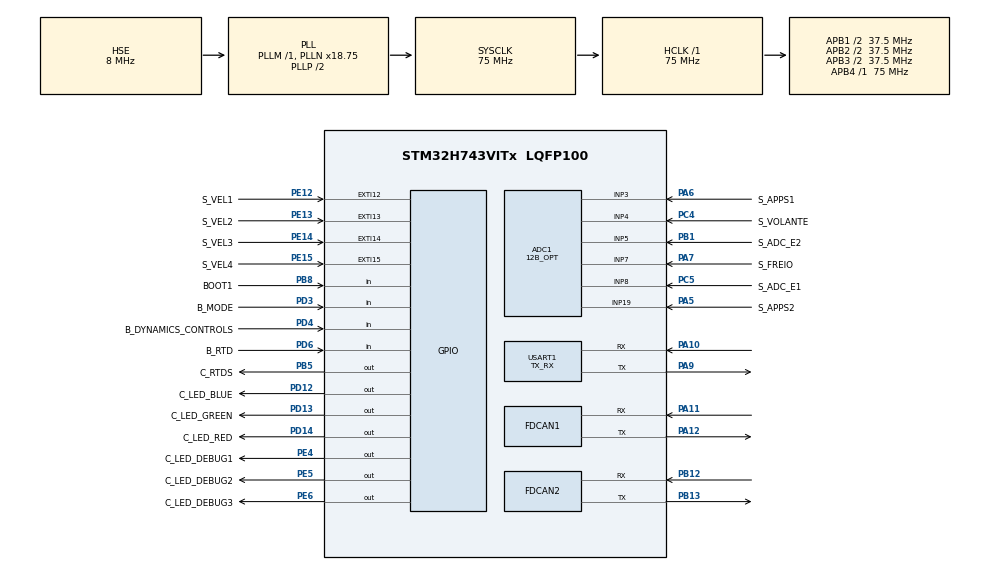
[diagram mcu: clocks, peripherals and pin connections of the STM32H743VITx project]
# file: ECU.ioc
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ADC1.Channel-0\#ChannelRegularConversion=ADC_CHANNEL_3
ADC1.Channel-1\#ChannelRegularConversion=ADC_CHANNEL_4
ADC1.Channel-2\#ChannelRegularConversion=ADC_CHANNEL_5
ADC1.Channel-3\#ChannelRegularConversion=ADC_CHANNEL_7
ADC1.Channel-4\#ChannelRegularConversion=ADC_CHANNEL_8
ADC1.Channel-5\#ChannelRegularConversion=ADC_CHANNEL_19
ADC1.ClockPrescaler=ADC_CLOCK_ASYNC_DIV2
ADC1.ContinuousConvMode=ENABLE
ADC1.ConversionDataManagement=ADC_CONVERSIONDATA_DMA_CIRCULAR
ADC1.EOCSelection=ADC_EOC_SEQ_CONV
ADC1.NbrOfConversion=6
ADC1.NbrOfConversionFlag=1
ADC1.OffsetNumber-0\#ChannelRegularConversion=ADC_OFFSET_NONE
ADC1.OffsetNumber-1\#ChannelRegularConversion=ADC_OFFSET_NONE
ADC1.OffsetNumber-2\#ChannelRegularConversion=ADC_OFFSET_NONE
ADC1.OffsetNumber-3\#ChannelRegularConversion=ADC_OFFSET_NONE
ADC1.OffsetNumber-4\#ChannelRegularConversion=ADC_OFFSET_NONE
ADC1.OffsetNumber-5\#ChannelRegularConversion=ADC_OFFSET_NONE
ADC1.Overrun=ADC_OVR_DATA_OVERWRITTEN
ADC1.Rank-0\#ChannelRegularConversion=1
ADC1.Rank-1\#ChannelRegularConversion=2
ADC1.Rank-2\#ChannelRegularConversion=3
ADC1.Rank-3\#ChannelRegularConversion=4
ADC1.Rank-4\#ChannelRegularConversion=5
ADC1.Rank-5\#ChannelRegularConversion=6
ADC1.Resolution=ADC_RESOLUTION_12B_OPT
ADC1.SamplingTime-0\#ChannelRegularConversion=ADC_SAMPLETIME_810CYCLES_5
ADC1.SamplingTime-1\#ChannelRegularConversion=ADC_SAMPLETIME_810CYCLES_5
ADC1.SamplingTime-2\#ChannelRegularConversion=ADC_SAMPLETIME_810CYCLES_5
ADC1.SamplingTime-3\#ChannelRegularConversion=ADC_SAMPLETIME_810CYCLES_5
ADC1.SamplingTime-4\#ChannelRegularConversion=ADC_SAMPLETIME_810CYCLES_5
ADC1.SamplingTime-5\#ChannelRegularConversion=ADC_SAMPLETIME_810CYCLES_5
ADC1.master=1
Dma.ADC1.0.Direction=DMA_PERIPH_TO_MEMORY
Dma.ADC1.0.EventEnable=DISABLE
Dma.ADC1.0.FIFOMode=DMA_FIFOMODE_DISABLE
Dma.ADC1.0.Instance=DMA1_Stream0
Dma.ADC1.0.MemDataAlignment=DMA_MDATAALIGN_HALFWORD
Dma.ADC1.0.MemInc=DMA_MINC_ENABLE
Dma.ADC1.0.Mode=DMA_CIRCULAR
Dma.ADC1.0.PeriphDataAlignment=DMA_PDATAALIGN_HALFWORD
Dma.ADC1.0.PeriphInc=DMA_PINC_DISABLE
Dma.ADC1.0.Polarity=HAL_DMAMUX_REQ_GEN_RISING
Dma.ADC1.0.Priority=DMA_PRIORITY_LOW
Dma.ADC1.0.RequestNumber=1
Dma.ADC1.0.SignalID=NONE
Dma.ADC1.0.SyncEnable=DISABLE
Dma.ADC1.0.SyncPolarity=HAL_DMAMUX_SYNC_NO_EVENT
Dma.ADC1.0.SyncRequestNumber=1
Dma.ADC1.0.SyncSignalID=NONE
Dma.Request0=ADC1
Dma.Request1=USART1_RX
Dma.Request2=USART1_TX
Dma.USART1_RX.1.Direction=DMA_PERIPH_TO_MEMORY
Dma.USART1_RX.1.EventEnable=DISABLE
Dma.USART1_RX.1.FIFOMode=DMA_FIFOMODE_DISABLE
Dma.USART1_RX.1.Instance=DMA1_Stream1
Dma.USART1_RX.1.MemDataAlignment=DMA_MDATAALIGN_BYTE
Dma.USART1_RX.1.MemInc=DMA_MINC_ENABLE
Dma.USART1_RX.1.Mode=DMA_CIRCULAR
Dma.USART1_RX.1.PeriphDataAlignment=DMA_PDATAALIGN_BYTE
Dma.USART1_RX.1.PeriphInc=DMA_PINC_DISABLE
Dma.USART1_RX.1.Polarity=HAL_DMAMUX_REQ_GEN_RISING
Dma.USART1_RX.1.Priority=DMA_PRIORITY_LOW
Dma.USART1_RX.1.RequestNumber=1
Dma.USART1_RX.1.SignalID=NONE
Dma.USART1_RX.1.SyncEnable=DISABLE
Dma.USART1_RX.1.SyncPolarity=HAL_DMAMUX_SYNC_NO_EVENT
Dma.USART1_RX.1.SyncRequestNumber=1
Dma.USART1_RX.1.SyncSignalID=NONE
Dma.USART1_TX.2.Direction=DMA_MEMORY_TO_PERIPH
Dma.USART1_TX.2.EventEnable=DISABLE
Dma.USART1_TX.2.FIFOMode=DMA_FIFOMODE_DISABLE
Dma.USART1_TX.2.Instance=DMA1_Stream2
Dma.USART1_TX.2.MemDataAlignment=DMA_MDATAALIGN_BYTE
Dma.USART1_TX.2.MemInc=DMA_MINC_ENABLE
Dma.USART1_TX.2.Mode=DMA_NORMAL
Dma.USART1_TX.2.PeriphDataAlignment=DMA_PDATAALIGN_BYTE
Dma.USART1_TX.2.PeriphInc=DMA_PINC_DISABLE
Dma.USART1_TX.2.Polarity=HAL_DMAMUX_REQ_GEN_RISING
Dma.USART1_TX.2.Priority=DMA_PRIORITY_LOW
Dma.USART1_TX.2.RequestNumber=1
Dma.USART1_TX.2.SignalID=NONE
Dma.USART1_TX.2.SyncEnable=DISABLE
Dma.USART1_TX.2.SyncPolarity=HAL_DMAMUX_SYNC_NO_EVENT
Dma.USART1_TX.2.SyncRequestNumber=1
Dma.USART1_TX.2.SyncSignalID=NONE
FDCAN1.CalculateBaudRateNominal=50000
FDCAN1.CalculateTimeBitNominal=20000
FDCAN1.CalculateTimeQuantumNominal=625.0
FDCAN1.DataPrescaler=5
FDCAN1.DataSyncJumpWidth=4
FDCAN1.DataTimeSeg1=27
FDCAN1.DataTimeSeg2=4
FDCAN1.NominalPrescaler=5
FDCAN1.NominalSyncJumpWidth=4
FDCAN1.NominalTimeSeg1=27
FDCAN1.NominalTimeSeg2=4
FDCAN1.RxBuffersNbr=32
FDCAN1.RxFifo0ElmtsNbr=32
FDCAN1.RxFifo1ElmtsNbr=32
FDCAN1.TxBuffersNbr=32
FDCAN1.TxEventsNbr=32
FDCAN1.TxFifoQueueElmtsNbr=32
FDCAN2.CalculateBaudRateNominal=500000
FDCAN2.CalculateTimeBitNominal=2000
FDCAN2.CalculateTimeQuantumNominal=125.0
FDCAN2.DataSyncJumpWidth=2
FDCAN2.DataTimeSeg1=13
FDCAN2.DataTimeSeg2=2
FDCAN2.MessageRAMOffset=1280
FDCAN2.NominalPrescaler=1
FDCAN2.NominalSyncJumpWidth=2
FDCAN2.NominalTimeSeg1=13
FDCAN2.RxBuffersNbr=32
FDCAN2.RxFifo0ElmtsNbr=32
FDCAN2.RxFifo1ElmtsNbr=32
FDCAN2.TxBuffersNbr=32
FDCAN2.TxEventsNbr=32
FDCAN2.TxFifoQueueElmtsNbr=32
FREERTOS.Events01=e_ECU_control_flags,Dynamic,NULL
FREERTOS.Mutexes01=m_state_parameter_mutex,Dynamic,NULL
FREERTOS.Queues01=q_encoder_int_message,16,encoder_int_message_t,0,Dynamic,NULL,NULL;q_torque_message,16,torque_message_t,0,Dynamic,NULL,NULL;q_ref_torque_message,16,ref_torque_t,0,Dynamic,NULL,NULL;q_datalog_message,128,datalog_message_t,0,Dynamic,NULL,NULL;q_debug_leds_message,16,debug_led_message_t,0,Dynamic,NULL,NULL;q_rgb_led_message,16,rgb_led_message_t,0,Dynamic,NULL,NULL;q_throttle_control,16,uint16_t,0,Dynamic,NULL,NULL;q_encoder_speeds_message,1,encoder_speeds_message_t,0,Dynamic,NULL,NULL;q_odometer_calc_save_message,1,odometer_message_t,0,Dynamic,NULL,NULL;q_ids_can_inverter,32,uint32_t,0,Dynamic,NULL,NULL
FREERTOS.Tasks01=t_main_task,24,1024,main_task,As weak,NULL,Dynamic,NULL,NULL;t_torque_parameters,8,1024,torque_parameters,As external,NULL,Dynamic,NULL,NULL;t_datalogger,8,1024,datalogger,As external,NULL,Dynamic,NULL,NULL;t_APPS_read,8,1024,APPS_read,As external,NULL,Dynamic,NULL,NULL;t_steering_read,8,1024,steering_read,As external,NULL,Dynamic,NULL,NULL;t_encoder_speed_calc,8,1024,encoder_speed_calc,As external,NULL,Dynamic,NULL,NULL;t_odometer_calc,8,1024,odometer_calc,As external,NULL,Dynamic,NULL,NULL;t_torque_message,8,1024,torque_message,As external,NULL,Dynamic,NULL,NULL;t_torque_manager,8,1024,torque_manager,As external,NULL,Dynamic,NULL,NULL;t_debug_leds,8,1024,debug_leds,As external,NULL,Dynamic,NULL,NULL;t_rgb_led,8,1024,rgb_led,As external,NULL,Dynamic,NULL,NULL;t_seleciona_modo,8,1024,seleciona_modo,As external,NULL,Dynamic,NULL,NULL;t_RTD,8,1024,RTD,As external,NULL,Dynamic,NULL,NULL;t_throttle_control,8,1024,throttle_control,As external,NULL,Dynamic,NULL,NULL;t_datalog_acquisition,8,1024,datalog_acquisition,As external,NULL,Dynamic,NULL,NULL;t_inverter_comm_error,8,1024,inverter_comm_error,As external,NULL,Dynamic,NULL,NULL;t_inverter_datalog,8,1024,inverter_datalog,As external,NULL,Dynamic,NULL,NULL;t_pilot_reset,8,1024,pilot_reset,As external,NULL,Dynamic,NULL,NULL;t_buttons_handler,8,1024,buttons_handler,As external,NULL,Dynamic,NULL,NULL;t_speed_datalog,8,1024,speed_datalog,As external,NULL,Dynamic,NULL,NULL;t_odometer_save,8,1024,odometer_save,As external,NULL,Dynamic,NULL,NULL;t_dynamic_controls_choice,8,1024,dynamic_controls_choice,As external,NULL,Dynamic,NULL,NULL;t_UARTHandle,8,1024,StartTask23,Default,NULL,Dynamic,NULL,NULL
FREERTOS.Timers01=tim_SU_F_error,errors_with_timer_callback,osTimerOnce,As external,SU_F_ERROR_FLAG,Dynamic,NULL;tim_APPS_error,errors_with_timer_callback,osTimerOnce,As external,APPS_ERROR_FLAG,Dynamic,NULL;tim_inverter_BUS_OFF_error,inverter_BUS_OFF_error_callback,osTimerOnce,As external,NULL,Dynamic,NULL;tim_inverter_ready,inverter_ready_callback,osTimerOnce,As external,NULL,Dynamic,NULL;tim_inverter_can_transmit_error,errors_with_timer_callback,osTimerOnce,As external,INVERTER_CAN_TRANSMIT_ERROR_FLAG,Dynamic,NULL;tim_left_inv_error,left_inv_error_callback,osTimerPeriodic,As external,LEFT_INVERTER_COMM_ERROR_FLAG,Dynamic,NULL;tim_right_inv_error,right_inv_error_callback,osTimerPeriodic,As external,RIGHT_INVERTER_COMM_ERROR_FLAG,Dynamic,NULL
FREERTOS.configCHECK_FOR_STACK_OVERFLOW=2
FREERTOS.configENABLE_FPU=1
FREERTOS.configMAX_TASK_NAME_LEN=32
FREERTOS.configMINIMAL_STACK_SIZE=64
FREERTOS.configTOTAL_HEAP_SIZE=121260
FREERTOS.configUSE_MALLOC_FAILED_HOOK=1
FREERTOS.configUSE_STATS_FORMATTING_FUNCTIONS=1
IWDG1.Prescaler=IWDG_PRESCALER_8
Mcu.Family=STM32H7
Mcu.Name=STM32H743VITx
Mcu.Package=LQFP100
NVIC.DMA1_Stream0_IRQn=true\:5\:0\:false\:false\:true\:true\:false\:true\:true
NVIC.DMA1_Stream1_IRQn=true\:5\:0\:false\:false\:true\:true\:false\:true\:true
NVIC.DMA1_Stream2_IRQn=true\:5\:0\:false\:false\:true\:true\:false\:true\:true
NVIC.EXTI15_10_IRQn=true\:5\:0\:false\:false\:true\:true\:true\:true\:true
NVIC.FDCAN1_IT0_IRQn=true\:5\:0\:false\:false\:true\:true\:true\:true\:true
NVIC.FDCAN1_IT1_IRQn=true\:5\:0\:false\:false\:true\:true\:true\:true\:true
NVIC.FDCAN2_IT0_IRQn=true\:5\:0\:false\:false\:true\:true\:true\:true\:true
NVIC.FDCAN2_IT1_IRQn=true\:5\:0\:false\:false\:true\:true\:true\:true\:true
NVIC.PriorityGroup=NVIC_PRIORITYGROUP_4
NVIC.TIM1_TRG_COM_IRQn=true\:5\:0\:false\:false\:true\:true\:true\:true\:true
NVIC.TIM3_IRQn=true\:0\:0\:false\:false\:true\:false\:false\:true\:true
NVIC.TimeBase=TIM3_IRQn
NVIC.TimeBaseIP=TIM3
NVIC.USART1_IRQn=true\:5\:0\:false\:false\:true\:true\:true\:true\:true
PA10.Mode=Asynchronous
PA10.Signal=USART1_RX
PA11.Mode=FDCAN_Activate
PA11.Signal=FDCAN1_RX
PA12.Mode=FDCAN_Activate
PA12.Signal=FDCAN1_TX
PA13\ (JTMS/SWDIO).Mode=Serial_Wire
PA13\ (JTMS/SWDIO).Signal=DEBUG_JTMS-SWDIO
PA14\ (JTCK/SWCLK).Mode=Serial_Wire
PA14\ (JTCK/SWCLK).Signal=DEBUG_JTCK-SWCLK
PA5.GPIO_Label=S_APPS2
PA5.Signal=ADCx_INP19
PA6.GPIO_Label=S_APPS1
PA6.Signal=ADCx_INP3
PA7.GPIO_Label=S_FREIO
PA7.Signal=ADCx_INP7
PA9.Mode=Asynchronous
PA9.Signal=USART1_TX
PB1.GPIO_Label=S_ADC_E2
PB1.Signal=ADCx_INP5
PB12.Mode=FDCAN_Activate
PB12.Signal=FDCAN2_RX
PB13.Mode=FDCAN_Activate
PB13.Signal=FDCAN2_TX
PB5.GPIO_Label=C_RTDS
PB5.PinState=GPIO_PIN_RESET
PB5.Signal=GPIO_Output
PB8.GPIO_Label=BOOT1
PB8.Signal=GPIO_Input
PC4.GPIO_Label=S_VOLANTE
PC4.Signal=ADCx_INP4
PC5.GPIO_Label=S_ADC_E1
PC5.Signal=ADCx_INP8
PD12.GPIO_Label=C_LED_BLUE
PD12.Signal=GPIO_Output
PD13.GPIO_Label=C_LED_GREEN
PD13.Signal=GPIO_Output
PD14.GPIO_Label=C_LED_RED
PD14.Signal=GPIO_Output
PD3.GPIO_Label=B_MODE
PD3.Signal=GPIO_Input
PD4.GPIO_Label=B_DYNAMICS_CONTROLS
PD4.Signal=GPIO_Input
PD6.GPIO_Label=B_RTD
PD6.Signal=GPIO_Input
PE12.GPIO_Label=S_VEL1
PE12.Signal=GPXTI12
PE13.GPIO_Label=S_VEL2
PE13.Signal=GPXTI13
PE14.GPIO_Label=S_VEL3
PE14.Signal=GPXTI14
PE15.GPIO_Label=S_VEL4
PE15.Signal=GPXTI15
PE4.GPIO_Label=C_LED_DEBUG1
PE4.PinState=GPIO_PIN_SET
PE4.Signal=GPIO_Output
PE5.GPIO_Label=C_LED_DEBUG2
PE5.PinState=GPIO_PIN_RESET
PE5.Signal=GPIO_Output
PE6.GPIO_Label=C_LED_DEBUG3
PE6.PinState=GPIO_PIN_SET
PE6.Signal=GPIO_Output
PH0-OSC_IN\ (PH0).Mode=HSE-External-Oscillator
PH0-OSC_IN\ (PH0).Signal=RCC_OSC_IN
PH1-OSC_OUT\ (PH1).Mode=HSE-External-Oscillator
PH1-OSC_OUT\ (PH1).Signal=RCC_OSC_OUT
ProjectManager.HeapSize=0x200
ProjectManager.StackSize=0x400
ProjectManager.TargetToolchain=STM32CubeIDE
RCC.ADCFreq_Value=37500000
RCC.APB1Freq_Value=37500000
RCC.APB2Freq_Value=37500000
RCC.APB3Freq_Value=37500000
RCC.APB4Freq_Value=75000000
RCC.CortexFreq_Value=75000000
RCC.D1PPRE=RCC_APB3_DIV2
RCC.D2PPRE1=RCC_APB1_DIV2
RCC.D2PPRE2=RCC_APB2_DIV2
RCC.DIVM1=1
RCC.DIVM2=1
RCC.DIVN1=18
RCC.DIVN2=18
RCC.DIVP2=4
RCC.DIVQ1=4
RCC.FDCANCLockSelection=RCC_FDCANCLKSOURCE_HSE
RCC.HCLKFreq_Value=75000000
RCC.HSE_VALUE=8000000
RCC.PLL2FRACN=6144
RCC.PLL3FRACN=0
RCC.PLLFRACN=6144
RCC.PLLSourceVirtual=RCC_PLLSOURCE_HSE
RCC.SYSCLKFreq_VALUE=75000000
RCC.SYSCLKSource=RCC_SYSCLKSOURCE_PLLCLK
RCC.USBFreq_Value=37500000
SH.ADCx_INP19.0=ADC1_INP19,IN19-Single-Ended
SH.ADCx_INP3.0=ADC1_INP3,IN3-Single-Ended
SH.ADCx_INP4.0=ADC1_INP4,IN4-Single-Ended
SH.ADCx_INP5.0=ADC1_INP5,IN5-Single-Ended
SH.ADCx_INP7.0=ADC1_INP7,IN7-Single-Ended
SH.ADCx_INP8.0=ADC1_INP8,IN8-Single-Ended
TIM1.Period=4000
TIM1.Prescaler=1799
TIM2.Period=0xFFFFFFFF
TIM2.Prescaler=0
USART1.Mode=MODE_TX_RX
USART1.VirtualMode-Asynchronous=VM_ASYNC
VP_FREERTOS_VS_CMSIS_V2.Mode=CMSIS_V2
VP_IWDG1_VS_IWDG.Mode=IWDG_Activate
VP_SYS_VS_tim3.Mode=TIM3
VP_TIM1_VS_ClockSourceINT.Mode=Internal
VP_TIM2_VS_ClockSourceINT.Mode=Internal
board=custom

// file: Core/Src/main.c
/* USER CODE BEGIN Header */
/**
  ******************************************************************************
  * @file           : main.c
  * @brief          : Main program body
  ******************************************************************************
  * @attention
  *
  * <h2><center>&copy; Copyright (c) 2020 STMicroelectronics.
  * All rights reserved.</center></h2>
  *
  * This software component is licensed by ST under BSD 3-Clause license,
  * the "License"; You may not use this file except in compliance with the
  * License. You may obtain a copy of the License at:
  *                        opensource.org/licenses/BSD-3-Clause
  *
  ******************************************************************************
  */
/* USER CODE END Header */
#include "main.h"
#include "cmsis_os.h"

/* USER CODE BEGIN Includes */
#include "CAN/inverter_can.h"
#include "CAN/general_can.h"
#include "util/initializers.h"
#include "sensors/APPS.h"
#include "sensors/encoder_speed.h"
#include "util/global_instances.h"
#include "util/main_task.h"
#include "leds/debug_leds_handler.h"
#include "leds/rgb_led_handler.h"
#include "util/CMSIS_extra/global_variables_handler.h"
#include "datalogging/speed.h"
#include "datalogging/odometer_save.h"
#include "string.h"
#include "torque_command/torque_manager.h"
/* USER CODE END Includes */

ADC_HandleTypeDef hadc1;
DMA_HandleTypeDef hdma_adc1;

FDCAN_HandleTypeDef hfdcan1;
FDCAN_HandleTypeDef hfdcan2;

IWDG_HandleTypeDef hiwdg1;

TIM_HandleTypeDef htim1;
TIM_HandleTypeDef htim2;

UART_HandleTypeDef huart1;
DMA_HandleTypeDef hdma_usart1_rx;
DMA_HandleTypeDef hdma_usart1_tx;

/* Definitions for t_main_task */
osThreadId_t t_main_taskHandle;
const osThreadAttr_t t_main_task_attributes = {
  .name = "t_main_task",
  .stack_size = 1024 * 4,
  .priority = (osPriority_t) osPriorityNormal,
};
/* Definitions for t_torque_parameters */
osThreadId_t t_torque_parametersHandle;
const osThreadAttr_t t_torque_parameters_attributes = {
  .name = "t_torque_parameters",
  .stack_size = 1024 * 4,
  .priority = (osPriority_t) osPriorityLow,
};
/* Definitions for t_datalogger */
osThreadId_t t_dataloggerHandle;
const osThreadAttr_t t_datalogger_attributes = {
  .name = "t_datalogger",
  .stack_size = 1024 * 4,
  .priority = (osPriority_t) osPriorityLow,
};
/* Definitions for t_APPS_read */
osThreadId_t t_APPS_readHandle;
const osThreadAttr_t t_APPS_read_attributes = {
  .name = "t_APPS_read",
  .stack_size = 1024 * 4,
  .priority = (osPriority_t) osPriorityLow,
};
/* Definitions for t_steering_read */
osThreadId_t t_steering_readHandle;
const osThreadAttr_t t_steering_read_attributes = {
  .name = "t_steering_read",
  .stack_size = 1024 * 4,
  .priority = (osPriority_t) osPriorityLow,
};
/* Definitions for t_encoder_speed_calc */
osThreadId_t t_encoder_speed_calcHandle;
const osThreadAttr_t t_encoder_speed_calc_attributes = {
  .name = "t_encoder_speed_calc",
  .stack_size = 1024 * 4,
  .priority = (osPriority_t) osPriorityLow,
};
/* Definitions for t_odometer_calc */
osThreadId_t t_odometer_calcHandle;
const osThreadAttr_t t_odometer_calc_attributes = {
  .name = "t_odometer_calc",
  .stack_size = 1024 * 4,
  .priority = (osPriority_t) osPriorityLow,
};
/* Definitions for t_torque_message */
osThreadId_t t_torque_messageHandle;
const osThreadAttr_t t_torque_message_attributes = {
  .name = "t_torque_message",
  .stack_size = 1024 * 4,
  .priority = (osPriority_t) osPriorityLow,
};
/* Definitions for t_torque_manager */
osThreadId_t t_torque_managerHandle;
const osThreadAttr_t t_torque_manager_attributes = {
  .name = "t_torque_manager",
  .stack_size = 1024 * 4,
  .priority = (osPriority_t) osPriorityLow,
};
/* Definitions for t_debug_leds */
osThreadId_t t_debug_ledsHandle;
const osThreadAttr_t t_debug_leds_attributes = {
  .name = "t_debug_leds",
  .stack_size = 1024 * 4,
  .priority = (osPriority_t) osPriorityLow,
};
/* Definitions for t_rgb_led */
osThreadId_t t_rgb_ledHandle;
const osThreadAttr_t t_rgb_led_attributes = {
  .name = "t_rgb_led",
  .stack_size = 1024 * 4,
  .priority = (osPriority_t) osPriorityLow,
};
/* Definitions for t_seleciona_modo */
osThreadId_t t_seleciona_modoHandle;
const osThreadAttr_t t_seleciona_modo_attributes = {
  .name = "t_seleciona_modo",
  .stack_size = 1024 * 4,
  .priority = (osPriority_t) osPriorityLow,
};
/* Definitions for t_RTD */
osThreadId_t t_RTDHandle;
const osThreadAttr_t t_RTD_attributes = {
  .name = "t_RTD",
  .stack_size = 1024 * 4,
  .priority = (osPriority_t) osPriorityLow,
};
/* Definitions for t_throttle_control */
osThreadId_t t_throttle_controlHandle;
const osThreadAttr_t t_throttle_control_attributes = {
  .name = "t_throttle_control",
  .stack_size = 1024 * 4,
  .priority = (osPriority_t) osPriorityLow,
};
/* Definitions for t_datalog_acquisition */
osThreadId_t t_datalog_acquisitionHandle;
const osThreadAttr_t t_datalog_acquisition_attributes = {
  .name = "t_datalog_acquisition",
  .stack_size = 1024 * 4,
  .priority = (osPriority_t) osPriorityLow,
};
/* Definitions for t_inverter_comm_error */
osThreadId_t t_inverter_comm_errorHandle;
const osThreadAttr_t t_inverter_comm_error_attributes = {
  .name = "t_inverter_comm_error",
  .stack_size = 1024 * 4,
  .priority = (osPriority_t) osPriorityLow,
};
/* Definitions for t_inverter_datalog */
osThreadId_t t_inverter_datalogHandle;
const osThreadAttr_t t_inverter_datalog_attributes = {
  .name = "t_inverter_datalog",
  .stack_size = 1024 * 4,
  .priority = (osPriority_t) osPriorityLow,
};
/* Definitions for t_pilot_reset */
osThreadId_t t_pilot_resetHandle;
const osThreadAttr_t t_pilot_reset_attributes = {
  .name = "t_pilot_reset",
  .stack_size = 1024 * 4,
  .priority = (osPriority_t) osPriorityLow,
};
/* Definitions for t_buttons_handler */
osThreadId_t t_buttons_handlerHandle;
const osThreadAttr_t t_buttons_handler_attributes = {
  .name = "t_buttons_handler",
  .stack_size = 1024 * 4,
  .priority = (osPriority_t) osPriorityLow,
};
/* Definitions for t_speed_datalog */
osThreadId_t t_speed_datalogHandle;
const osThreadAttr_t t_speed_datalog_attributes = {
  .name = "t_speed_datalog",
  .stack_size = 1024 * 4,
  .priority = (osPriority_t) osPriorityLow,
};
/* Definitions for t_odometer_save */
osThreadId_t t_odometer_saveHandle;
const osThreadAttr_t t_odometer_save_attributes = {
  .name = "t_odometer_save",
  .stack_size = 1024 * 4,
  .priority = (osPriority_t) osPriorityLow,
};
/* Definitions for t_dynamic_controls_choice */
osThreadId_t t_dynamic_controls_choiceHandle;
const osThreadAttr_t t_dynamic_controls_choice_attributes = {
  .name = "t_dynamic_controls_choice",
  .stack_size = 1024 * 4,
  .priority = (osPriority_t) osPriorityLow,
};
/* Definitions for t_UARTHandle */
osThreadId_t t_UARTHandleHandle;
const osThreadAttr_t t_UARTHandle_attributes = {
  .name = "t_UARTHandle",
  .stack_size = 1024 * 4,
  .priority = (osPriority_t) osPriorityLow,
};
/* Definitions for q_encoder_int_message */
osMessageQueueId_t q_encoder_int_messageHandle;
const osMessageQueueAttr_t q_encoder_int_message_attributes = {
  .name = "q_encoder_int_message"
};
/* Definitions for q_torque_message */
osMessageQueueId_t q_torque_messageHandle;
const osMessageQueueAttr_t q_torque_message_attributes = {
  .name = "q_torque_message"
};
/* Definitions for q_ref_torque_message */
osMessageQueueId_t q_ref_torque_messageHandle;
const osMessageQueueAttr_t q_ref_torque_message_attributes = {
  .name = "q_ref_torque_message"
};
/* Definitions for q_datalog_message */
osMessageQueueId_t q_datalog_messageHandle;
const osMessageQueueAttr_t q_datalog_message_attributes = {
  .name = "q_datalog_message"
};
/* Definitions for q_debug_leds_message */
osMessageQueueId_t q_debug_leds_messageHandle;
const osMessageQueueAttr_t q_debug_leds_message_attributes = {
  .name = "q_debug_leds_message"
};
/* Definitions for q_rgb_led_message */
osMessageQueueId_t q_rgb_led_messageHandle;
const osMessageQueueAttr_t q_rgb_led_message_attributes = {
  .name = "q_rgb_led_message"
};
/* Definitions for q_throttle_control */
osMessageQueueId_t q_throttle_controlHandle;
const osMessageQueueAttr_t q_throttle_control_attributes = {
  .name = "q_throttle_control"
};
/* Definitions for q_encoder_speeds_message */
osMessageQueueId_t q_encoder_speeds_messageHandle;
const osMessageQueueAttr_t q_encoder_speeds_message_attributes = {
  .name = "q_encoder_speeds_message"
};
/* Definitions for q_odometer_calc_save_message */
osMessageQueueId_t q_odometer_calc_save_messageHandle;
const osMessageQueueAttr_t q_odometer_calc_save_message_attributes = {
  .name = "q_odometer_calc_save_message"
};
/* Definitions for q_ids_can_inverter */
osMessageQueueId_t q_ids_can_inverterHandle;
const osMessageQueueAttr_t q_ids_can_inverter_attributes = {
  .name = "q_ids_can_inverter"
};
/* Definitions for tim_SU_F_error */
osTimerId_t tim_SU_F_errorHandle;
const osTimerAttr_t tim_SU_F_error_attributes = {
  .name = "tim_SU_F_error"
};
/* Definitions for tim_APPS_error */
osTimerId_t tim_APPS_errorHandle;
const osTimerAttr_t tim_APPS_error_attributes = {
  .name = "tim_APPS_error"
};
/* Definitions for tim_inverter_BUS_OFF_error */
osTimerId_t tim_inverter_BUS_OFF_errorHandle;
const osTimerAttr_t tim_inverter_BUS_OFF_error_attributes = {
  .name = "tim_inverter_BUS_OFF_error"
};
/* Definitions for tim_inverter_ready */
osTimerId_t tim_inverter_readyHandle;
const osTimerAttr_t tim_inverter_ready_attributes = {
  .name = "tim_inverter_ready"
};
/* Definitions for tim_inverter_can_transmit_error */
osTimerId_t tim_inverter_can_transmit_errorHandle;
const osTimerAttr_t tim_inverter_can_transmit_error_attributes = {
  .name = "tim_inverter_can_transmit_error"
};
/* Definitions for tim_left_inv_error */
osTimerId_t tim_left_inv_errorHandle;
const osTimerAttr_t tim_left_inv_error_attributes = {
  .name = "tim_left_inv_error"
};
/* Definitions for tim_right_inv_error */
osTimerId_t tim_right_inv_errorHandle;
const osTimerAttr_t tim_right_inv_error_attributes = {
  .name = "tim_right_inv_error"
};
/* Definitions for m_state_parameter_mutex */
osMutexId_t m_state_parameter_mutexHandle;
const osMutexAttr_t m_state_parameter_mutex_attributes = {
  .name = "m_state_parameter_mutex"
};
/* Definitions for e_ECU_control_flags */
osEventFlagsId_t e_ECU_control_flagsHandle;
const osEventFlagsAttr_t e_ECU_control_flags_attributes = {
  .name = "e_ECU_control_flags"
};
/* USER CODE BEGIN PV */
uint8_t rx_buffer[18];
PacoteHIL_t dados_planta;
/* USER CODE END PV */

void SystemClock_Config(void);
static void MX_GPIO_Init(void);
static void MX_DMA_Init(void);
static void MX_ADC1_Init(void);
static void MX_FDCAN1_Init(void);
static void MX_FDCAN2_Init(void);
static void MX_TIM1_Init(void);
static void MX_TIM2_Init(void);
static void MX_IWDG1_Init(void);
static void MX_USART1_UART_Init(void);
void main_task(void *argument);
extern void torque_parameters(void *argument);
extern void datalogger(void *argument);
extern void APPS_read(void *argument);
extern void steering_read(void *argument);
extern void encoder_speed_calc(void *argument);
extern void odometer_calc(void *argument);
extern void torque_message(void *argument);
extern void torque_manager(void *argument);
extern void debug_leds(void *argument);
extern void rgb_led(void *argument);
extern void seleciona_modo(void *argument);
extern void RTD(void *argument);
extern void throttle_control(void *argument);
extern void datalog_acquisition(void *argument);
extern void inverter_comm_error(void *argument);
extern void inverter_datalog(void *argument);
extern void pilot_reset(void *argument);
extern void buttons_handler(void *argument);
extern void speed_datalog(void *argument);
extern void odometer_save(void *argument);
extern void dynamic_controls_choice(void *argument);
void StartTask23(void *argument);
extern void errors_with_timer_callback(void *argument);
extern void inverter_BUS_OFF_error_callback(void *argument);
extern void inverter_ready_callback(void *argument);
extern void left_inv_error_callback(void *argument);
extern void right_inv_error_callback(void *argument);

/* USER CODE BEGIN PFP */

uint8_t txt[] = "HELLO\r\n";
/* USER CODE END PFP */

int main(void)
{

  /* MCU Configuration--------------------------------------------------------*/

  /* Reset of all peripherals, Initializes the Flash interface and the Systick. */
  HAL_Init();

  /* USER CODE BEGIN Init */
//  init_NVIC_priorities();
  /* USER CODE END Init */

  /* Configure the system clock */
  SystemClock_Config();

  /* Initialize all configured peripherals */
  MX_GPIO_Init();
  MX_DMA_Init();
  MX_ADC1_Init();
  MX_FDCAN1_Init();
  MX_FDCAN2_Init();
  MX_TIM1_Init();
  MX_TIM2_Init();
  MX_IWDG1_Init();
  MX_USART1_UART_Init();
  /* USER CODE BEGIN 2 */
  HAL_UARTEx_ReceiveToIdle_DMA(&huart1, rx_buffer, sizeof(rx_buffer));
  init_ECU();
  /* USER CODE END 2 */

  /* Init scheduler */
  osKernelInitialize();
  /* Create the mutex(es) */
  /* creation of m_state_parameter_mutex */
  m_state_parameter_mutexHandle = osMutexNew(&m_state_parameter_mutex_attributes);

  /* Create the timer(s) */
  /* creation of tim_SU_F_error */
  tim_SU_F_errorHandle = osTimerNew(errors_with_timer_callback, osTimerOnce, (void*) SU_F_ERROR_FLAG, &tim_SU_F_error_attributes);

  /* creation of tim_APPS_error */
  tim_APPS_errorHandle = osTimerNew(errors_with_timer_callback, osTimerOnce, (void*) APPS_ERROR_FLAG, &tim_APPS_error_attributes);

  /* creation of tim_inverter_BUS_OFF_error */
  tim_inverter_BUS_OFF_errorHandle = osTimerNew(inverter_BUS_OFF_error_callback, osTimerOnce, NULL, &tim_inverter_BUS_OFF_error_attributes);

  /* creation of tim_inverter_ready */
  tim_inverter_readyHandle = osTimerNew(inverter_ready_callback, osTimerOnce, NULL, &tim_inverter_ready_attributes);

  /* creation of tim_inverter_can_transmit_error */
  tim_inverter_can_transmit_errorHandle = osTimerNew(errors_with_timer_callback, osTimerOnce, (void*) INVERTER_CAN_TRANSMIT_ERROR_FLAG, &tim_inverter_can_transmit_error_attributes);

  /* creation of tim_left_inv_error */
  tim_left_inv_errorHandle = osTimerNew(left_inv_error_callback, osTimerPeriodic, (void*) LEFT_INVERTER_COMM_ERROR_FLAG, &tim_left_inv_error_attributes);

  /* creation of tim_right_inv_error */
  tim_right_inv_errorHandle = osTimerNew(right_inv_error_callback, osTimerPeriodic, (void*) RIGHT_INVERTER_COMM_ERROR_FLAG, &tim_right_inv_error_attributes);

  /* Create the queue(s) */
  /* creation of q_encoder_int_message */
  q_encoder_int_messageHandle = osMessageQueueNew (16, sizeof(encoder_int_message_t), &q_encoder_int_message_attributes);

  /* creation of q_torque_message */
  q_torque_messageHandle = osMessageQueueNew (16, sizeof(torque_message_t), &q_torque_message_attributes);

  /* creation of q_ref_torque_message */
  q_ref_torque_messageHandle = osMessageQueueNew (16, sizeof(ref_torque_t), &q_ref_torque_message_attributes);

  /* creation of q_datalog_message */
  q_datalog_messageHandle = osMessageQueueNew (128, sizeof(datalog_message_t), &q_datalog_message_attributes);

  /* creation of q_debug_leds_message */
  q_debug_leds_messageHandle = osMessageQueueNew (16, sizeof(debug_led_message_t), &q_debug_leds_message_attributes);

  /* creation of q_rgb_led_message */
  q_rgb_led_messageHandle = osMessageQueueNew (16, sizeof(rgb_led_message_t), &q_rgb_led_message_attributes);

  /* creation of q_throttle_control */
  q_throttle_controlHandle = osMessageQueueNew (16, sizeof(uint16_t), &q_throttle_control_attributes);

  /* creation of q_encoder_speeds_message */
  q_encoder_speeds_messageHandle = osMessageQueueNew (1, sizeof(encoder_speeds_message_t), &q_encoder_speeds_message_attributes);

  /* creation of q_odometer_calc_save_message */
  q_odometer_calc_save_messageHandle = osMessageQueueNew (1, sizeof(odometer_message_t), &q_odometer_calc_save_message_attributes);

  /* creation of q_ids_can_inverter */
  q_ids_can_inverterHandle = osMessageQueueNew (32, sizeof(uint32_t), &q_ids_can_inverter_attributes);

  /* Create the thread(s) */
  /* creation of t_main_task */
  t_main_taskHandle = osThreadNew(main_task, NULL, &t_main_task_attributes);

  /* creation of t_torque_parameters */
  t_torque_parametersHandle = osThreadNew(torque_parameters, NULL, &t_torque_parameters_attributes);

  /* creation of t_datalogger */
  t_dataloggerHandle = osThreadNew(datalogger, NULL, &t_datalogger_attributes);

  /* creation of t_APPS_read */
  t_APPS_readHandle = osThreadNew(APPS_read, NULL, &t_APPS_read_attributes);

  /* creation of t_steering_read */
  t_steering_readHandle = osThreadNew(steering_read, NULL, &t_steering_read_attributes);

  /* creation of t_encoder_speed_calc */
  t_encoder_speed_calcHandle = osThreadNew(encoder_speed_calc, NULL, &t_encoder_speed_calc_attributes);

  /* creation of t_odometer_calc */
  t_odometer_calcHandle = osThreadNew(odometer_calc, NULL, &t_odometer_calc_attributes);

  /* creation of t_torque_message */
  t_torque_messageHandle = osThreadNew(torque_message, NULL, &t_torque_message_attributes);

  /* creation of t_torque_manager */
  t_torque_managerHandle = osThreadNew(torque_manager, NULL, &t_torque_manager_attributes);

  /* creation of t_debug_leds */
  t_debug_ledsHandle = osThreadNew(debug_leds, NULL, &t_debug_leds_attributes);

  /* creation of t_rgb_led */
  t_rgb_ledHandle = osThreadNew(rgb_led, NULL, &t_rgb_led_attributes);

  /* creation of t_seleciona_modo */
  t_seleciona_modoHandle = osThreadNew(seleciona_modo, NULL, &t_seleciona_modo_attributes);

  /* creation of t_RTD */
  t_RTDHandle = osThreadNew(RTD, NULL, &t_RTD_attributes);

  /* creation of t_throttle_control */
  t_throttle_controlHandle = osThreadNew(throttle_control, NULL, &t_throttle_control_attributes);

  /* creation of t_datalog_acquisition */
  t_datalog_acquisitionHandle = osThreadNew(datalog_acquisition, NULL, &t_datalog_acquisition_attributes);

  /* creation of t_inverter_comm_error */
  t_inverter_comm_errorHandle = osThreadNew(inverter_comm_error, NULL, &t_inverter_comm_error_attributes);

  /* creation of t_inverter_datalog */
  t_inverter_datalogHandle = osThreadNew(inverter_datalog, NULL, &t_inverter_datalog_attributes);

  /* creation of t_pilot_reset */
  t_pilot_resetHandle = osThreadNew(pilot_reset, NULL, &t_pilot_reset_attributes);

  /* creation of t_buttons_handler */
  t_buttons_handlerHandle = osThreadNew(buttons_handler, NULL, &t_buttons_handler_attributes);

  /* creation of t_speed_datalog */
  t_speed_datalogHandle = osThreadNew(speed_datalog, NULL, &t_speed_datalog_attributes);

  /* creation of t_odometer_save */
  t_odometer_saveHandle = osThreadNew(odometer_save, NULL, &t_odometer_save_attributes);

  /* creation of t_dynamic_controls_choice */
  t_dynamic_controls_choiceHandle = osThreadNew(dynamic_controls_choice, NULL, &t_dynamic_controls_choice_attributes);

  /* creation of t_UARTHandle */
  t_UARTHandleHandle = osThreadNew(StartTask23, NULL, &t_UARTHandle_attributes);

  /* creation of e_ECU_control_flags */
  e_ECU_control_flagsHandle = osEventFlagsNew(&e_ECU_control_flags_attributes);

  /* Start scheduler */
  osKernelStart();

  /* We should never get here as control is now taken by the scheduler */
  /* Infinite loop */
  while (1)
  {

    /* USER CODE BEGIN 3 */
	  //HAL_UART_Transmit(&huart1, (uint8_t*) txt, 12, 1000);
	  //HAL_Delay(1000);
  }
  /* USER CODE END 3 */
}

void SystemClock_Config(void)
{
  RCC_OscInitTypeDef RCC_OscInitStruct = {0};
  RCC_ClkInitTypeDef RCC_ClkInitStruct = {0};

  /** Supply configuration update enable
  */
  HAL_PWREx_ConfigSupply(PWR_LDO_SUPPLY);

  /** Configure the main internal regulator output voltage
  */
  __HAL_PWR_VOLTAGESCALING_CONFIG(PWR_REGULATOR_VOLTAGE_SCALE3);

  while(!__HAL_PWR_GET_FLAG(PWR_FLAG_VOSRDY)) {}

  /** Macro to configure the PLL clock source
  */
  __HAL_RCC_PLL_PLLSOURCE_CONFIG(RCC_PLLSOURCE_HSE);

  /** Initializes the RCC Oscillators according to the specified parameters
  * in the RCC_OscInitTypeDef structure.
  */
  RCC_OscInitStruct.OscillatorType = RCC_OSCILLATORTYPE_LSI|RCC_OSCILLATORTYPE_HSE;
  RCC_OscInitStruct.HSEState = RCC_HSE_ON;
  RCC_OscInitStruct.LSIState = RCC_LSI_ON;
  RCC_OscInitStruct.PLL.PLLState = RCC_PLL_ON;
  RCC_OscInitStruct.PLL.PLLSource = RCC_PLLSOURCE_HSE;
  RCC_OscInitStruct.PLL.PLLM = 1;
  RCC_OscInitStruct.PLL.PLLN = 18;
  RCC_OscInitStruct.PLL.PLLP = 2;
  RCC_OscInitStruct.PLL.PLLQ = 4;
  RCC_OscInitStruct.PLL.PLLR = 2;
  RCC_OscInitStruct.PLL.PLLRGE = RCC_PLL1VCIRANGE_3;
  RCC_OscInitStruct.PLL.PLLVCOSEL = RCC_PLL1VCOMEDIUM;
  RCC_OscInitStruct.PLL.PLLFRACN = 6144;
  if (HAL_RCC_OscConfig(&RCC_OscInitStruct) != HAL_OK)
  {
    Error_Handler();
  }

  /** Initializes the CPU, AHB and APB buses clocks
  */
  RCC_ClkInitStruct.ClockType = RCC_CLOCKTYPE_HCLK|RCC_CLOCKTYPE_SYSCLK
                              |RCC_CLOCKTYPE_PCLK1|RCC_CLOCKTYPE_PCLK2
                              |RCC_CLOCKTYPE_D3PCLK1|RCC_CLOCKTYPE_D1PCLK1;
  RCC_ClkInitStruct.SYSCLKSource = RCC_SYSCLKSOURCE_PLLCLK;
  RCC_ClkInitStruct.SYSCLKDivider = RCC_SYSCLK_DIV1;
  RCC_ClkInitStruct.AHBCLKDivider = RCC_HCLK_DIV1;
  RCC_ClkInitStruct.APB3CLKDivider = RCC_APB3_DIV2;
  RCC_ClkInitStruct.APB1CLKDivider = RCC_APB1_DIV2;
  RCC_ClkInitStruct.APB2CLKDivider = RCC_APB2_DIV2;
  RCC_ClkInitStruct.APB4CLKDivider = RCC_APB4_DIV1;

  if (HAL_RCC_ClockConfig(&RCC_ClkInitStruct, FLASH_LATENCY_1) != HAL_OK)
  {
    Error_Handler();
  }
}

static void MX_ADC1_Init(void)
{

  ADC_MultiModeTypeDef multimode = {0};
  ADC_ChannelConfTypeDef sConfig = {0};

  /** Common config
  */
  hadc1.Instance = ADC1;
  hadc1.Init.ClockPrescaler = ADC_CLOCK_ASYNC_DIV2;
  hadc1.Init.Resolution = ADC_RESOLUTION_12B_OPT;
  hadc1.Init.ScanConvMode = ADC_SCAN_ENABLE;
  hadc1.Init.EOCSelection = ADC_EOC_SEQ_CONV;
  hadc1.Init.LowPowerAutoWait = DISABLE;
  hadc1.Init.ContinuousConvMode = ENABLE;
  hadc1.Init.NbrOfConversion = 6;
  hadc1.Init.DiscontinuousConvMode = DISABLE;
  hadc1.Init.ExternalTrigConv = ADC_SOFTWARE_START;
  hadc1.Init.ExternalTrigConvEdge = ADC_EXTERNALTRIGCONVEDGE_NONE;
  hadc1.Init.ConversionDataManagement = ADC_CONVERSIONDATA_DMA_CIRCULAR;
  hadc1.Init.Overrun = ADC_OVR_DATA_OVERWRITTEN;
  hadc1.Init.LeftBitShift = ADC_LEFTBITSHIFT_NONE;
  hadc1.Init.OversamplingMode = DISABLE;
  if (HAL_ADC_Init(&hadc1) != HAL_OK)
  {
    Error_Handler();
  }

  /** Configure the ADC multi-mode
  */
  multimode.Mode = ADC_MODE_INDEPENDENT;
  if (HAL_ADCEx_MultiModeConfigChannel(&hadc1, &multimode) != HAL_OK)
  {
    Error_Handler();
  }

  /** Configure Regular Channel
  */
  sConfig.Channel = ADC_CHANNEL_3;
  sConfig.Rank = ADC_REGULAR_RANK_1;
  sConfig.SamplingTime = ADC_SAMPLETIME_810CYCLES_5;
  sConfig.SingleDiff = ADC_SINGLE_ENDED;
  sConfig.OffsetNumber = ADC_OFFSET_NONE;
  sConfig.Offset = 0;
  if (HAL_ADC_ConfigChannel(&hadc1, &sConfig) != HAL_OK)
  {
    Error_Handler();
  }

  /** Configure Regular Channel
  */
  sConfig.Channel = ADC_CHANNEL_4;
  sConfig.Rank = ADC_REGULAR_RANK_2;
  if (HAL_ADC_ConfigChannel(&hadc1, &sConfig) != HAL_OK)
  {
    Error_Handler();
  }

  /** Configure Regular Channel
  */
  sConfig.Channel = ADC_CHANNEL_5;
  sConfig.Rank = ADC_REGULAR_RANK_3;
  if (HAL_ADC_ConfigChannel(&hadc1, &sConfig) != HAL_OK)
  {
    Error_Handler();
  }

  /** Configure Regular Channel
  */
  sConfig.Channel = ADC_CHANNEL_7;
  sConfig.Rank = ADC_REGULAR_RANK_4;
  if (HAL_ADC_ConfigChannel(&hadc1, &sConfig) != HAL_OK)
  {
    Error_Handler();
  }

  /** Configure Regular Channel
  */
  sConfig.Channel = ADC_CHANNEL_8;
  sConfig.Rank = ADC_REGULAR_RANK_5;
  if (HAL_ADC_ConfigChannel(&hadc1, &sConfig) != HAL_OK)
  {
    Error_Handler();
  }

  /** Configure Regular Channel
  */
  sConfig.Channel = ADC_CHANNEL_19;
  sConfig.Rank = ADC_REGULAR_RANK_6;
  if (HAL_ADC_ConfigChannel(&hadc1, &sConfig) != HAL_OK)
  {
    Error_Handler();
  }

}

static void MX_FDCAN1_Init(void)
{

  hfdcan1.Instance = FDCAN1;
  hfdcan1.Init.FrameFormat = FDCAN_FRAME_CLASSIC;
  hfdcan1.Init.Mode = FDCAN_MODE_NORMAL;
  hfdcan1.Init.AutoRetransmission = DISABLE;
  hfdcan1.Init.TransmitPause = DISABLE;
  hfdcan1.Init.ProtocolException = DISABLE;
  hfdcan1.Init.NominalPrescaler = 5;
  hfdcan1.Init.NominalSyncJumpWidth = 4;
  hfdcan1.Init.NominalTimeSeg1 = 27;
  hfdcan1.Init.NominalTimeSeg2 = 4;
  hfdcan1.Init.DataPrescaler = 5;
  hfdcan1.Init.DataSyncJumpWidth = 4;
  hfdcan1.Init.DataTimeSeg1 = 27;
  hfdcan1.Init.DataTimeSeg2 = 4;
  hfdcan1.Init.MessageRAMOffset = 0;
  hfdcan1.Init.StdFiltersNbr = 0;
  hfdcan1.Init.ExtFiltersNbr = 0;
  hfdcan1.Init.RxFifo0ElmtsNbr = 32;
  hfdcan1.Init.RxFifo0ElmtSize = FDCAN_DATA_BYTES_8;
  hfdcan1.Init.RxFifo1ElmtsNbr = 32;
  hfdcan1.Init.RxFifo1ElmtSize = FDCAN_DATA_BYTES_8;
  hfdcan1.Init.RxBuffersNbr = 32;
  hfdcan1.Init.RxBufferSize = FDCAN_DATA_BYTES_8;
  hfdcan1.Init.TxEventsNbr = 32;
  hfdcan1.Init.TxBuffersNbr = 32;
  hfdcan1.Init.TxFifoQueueElmtsNbr = 32;
  hfdcan1.Init.TxFifoQueueMode = FDCAN_TX_FIFO_OPERATION;
  hfdcan1.Init.TxElmtSize = FDCAN_DATA_BYTES_8;
  if (HAL_FDCAN_Init(&hfdcan1) != HAL_OK)
  {
    Error_Handler();
  }

}

static void MX_FDCAN2_Init(void)
{

  hfdcan2.Instance = FDCAN2;
  hfdcan2.Init.FrameFormat = FDCAN_FRAME_CLASSIC;
  hfdcan2.Init.Mode = FDCAN_MODE_NORMAL;
  hfdcan2.Init.AutoRetransmission = DISABLE;
  hfdcan2.Init.TransmitPause = DISABLE;
  hfdcan2.Init.ProtocolException = DISABLE;
  hfdcan2.Init.NominalPrescaler = 1;
  hfdcan2.Init.NominalSyncJumpWidth = 2;
  hfdcan2.Init.NominalTimeSeg1 = 13;
  hfdcan2.Init.NominalTimeSeg2 = 2;
  hfdcan2.Init.DataPrescaler = 1;
  hfdcan2.Init.DataSyncJumpWidth = 2;
  hfdcan2.Init.DataTimeSeg1 = 13;
  hfdcan2.Init.DataTimeSeg2 = 2;
  hfdcan2.Init.MessageRAMOffset = 1280;
  hfdcan2.Init.StdFiltersNbr = 0;
  hfdcan2.Init.ExtFiltersNbr = 0;
  hfdcan2.Init.RxFifo0ElmtsNbr = 32;
  hfdcan2.Init.RxFifo0ElmtSize = FDCAN_DATA_BYTES_8;
  hfdcan2.Init.RxFifo1ElmtsNbr = 32;
  hfdcan2.Init.RxFifo1ElmtSize = FDCAN_DATA_BYTES_8;
  hfdcan2.Init.RxBuffersNbr = 32;
  hfdcan2.Init.RxBufferSize = FDCAN_DATA_BYTES_8;
  hfdcan2.Init.TxEventsNbr = 32;
  hfdcan2.Init.TxBuffersNbr = 32;
  hfdcan2.Init.TxFifoQueueElmtsNbr = 32;
  hfdcan2.Init.TxFifoQueueMode = FDCAN_TX_FIFO_OPERATION;
  hfdcan2.Init.TxElmtSize = FDCAN_DATA_BYTES_8;
  if (HAL_FDCAN_Init(&hfdcan2) != HAL_OK)
  {
    Error_Handler();
  }

}

static void MX_IWDG1_Init(void)
{

  hiwdg1.Instance = IWDG1;
  hiwdg1.Init.Prescaler = IWDG_PRESCALER_8;
  hiwdg1.Init.Window = 4095;
  hiwdg1.Init.Reload = 4095;
  if (HAL_IWDG_Init(&hiwdg1) != HAL_OK)
  {
    Error_Handler();
  }
  /* USER CODE BEGIN IWDG1_Init 2 */
  __HAL_DBGMCU_FREEZE_IWDG1() ;
  /* USER CODE END IWDG1_Init 2 */

}

static void MX_TIM1_Init(void)
{

  TIM_ClockConfigTypeDef sClockSourceConfig = {0};
  TIM_MasterConfigTypeDef sMasterConfig = {0};

  htim1.Instance = TIM1;
  htim1.Init.Prescaler = 1799;
  htim1.Init.CounterMode = TIM_COUNTERMODE_UP;
  htim1.Init.Period = 4000;
  htim1.Init.ClockDivision = TIM_CLOCKDIVISION_DIV1;
  htim1.Init.RepetitionCounter = 0;
  htim1.Init.AutoReloadPreload = TIM_AUTORELOAD_PRELOAD_DISABLE;
  if (HAL_TIM_Base_Init(&htim1) != HAL_OK)
  {
    Error_Handler();
  }
  sClockSourceConfig.ClockSource = TIM_CLOCKSOURCE_INTERNAL;
  if (HAL_TIM_ConfigClockSource(&htim1, &sClockSourceConfig) != HAL_OK)
  {
    Error_Handler();
  }
  sMasterConfig.MasterOutputTrigger = TIM_TRGO_RESET;
  sMasterConfig.MasterOutputTrigger2 = TIM_TRGO2_RESET;
  sMasterConfig.MasterSlaveMode = TIM_MASTERSLAVEMODE_DISABLE;
  if (HAL_TIMEx_MasterConfigSynchronization(&htim1, &sMasterConfig) != HAL_OK)
  {
    Error_Handler();
  }

}

static void MX_TIM2_Init(void)
{

  TIM_ClockConfigTypeDef sClockSourceConfig = {0};
  TIM_MasterConfigTypeDef sMasterConfig = {0};

  htim2.Instance = TIM2;
  htim2.Init.Prescaler = 0;
  htim2.Init.CounterMode = TIM_COUNTERMODE_UP;
  htim2.Init.Period = 0xFFFFFFFF;
  htim2.Init.ClockDivision = TIM_CLOCKDIVISION_DIV1;
  htim2.Init.AutoReloadPreload = TIM_AUTORELOAD_PRELOAD_DISABLE;
  if (HAL_TIM_Base_Init(&htim2) != HAL_OK)
  {
    Error_Handler();
  }
  sClockSourceConfig.ClockSource = TIM_CLOCKSOURCE_INTERNAL;
  if (HAL_TIM_ConfigClockSource(&htim2, &sClockSourceConfig) != HAL_OK)
  {
    Error_Handler();
  }
  sMasterConfig.MasterOutputTrigger = TIM_TRGO_RESET;
  sMasterConfig.MasterSlaveMode = TIM_MASTERSLAVEMODE_DISABLE;
  if (HAL_TIMEx_MasterConfigSynchronization(&htim2, &sMasterConfig) != HAL_OK)
  {
    Error_Handler();
  }

}

static void MX_USART1_UART_Init(void)
{

  huart1.Instance = USART1;
  huart1.Init.BaudRate = 115200;
  huart1.Init.WordLength = UART_WORDLENGTH_8B;
  huart1.Init.StopBits = UART_STOPBITS_1;
  huart1.Init.Parity = UART_PARITY_NONE;
  huart1.Init.Mode = UART_MODE_TX_RX;
  huart1.Init.HwFlowCtl = UART_HWCONTROL_NONE;
  huart1.Init.OverSampling = UART_OVERSAMPLING_16;
  huart1.Init.OneBitSampling = UART_ONE_BIT_SAMPLE_DISABLE;
  huart1.Init.ClockPrescaler = UART_PRESCALER_DIV1;
  huart1.AdvancedInit.AdvFeatureInit = UART_ADVFEATURE_NO_INIT;
  if (HAL_UART_Init(&huart1) != HAL_OK)
  {
    Error_Handler();
  }
  if (HAL_UARTEx_SetTxFifoThreshold(&huart1, UART_TXFIFO_THRESHOLD_1_8) != HAL_OK)
  {
    Error_Handler();
  }
  if (HAL_UARTEx_SetRxFifoThreshold(&huart1, UART_RXFIFO_THRESHOLD_1_8) != HAL_OK)
  {
    Error_Handler();
  }
  if (HAL_UARTEx_DisableFifoMode(&huart1) != HAL_OK)
  {
    Error_Handler();
  }

}

static void MX_DMA_Init(void)
{

  /* DMA controller clock enable */
  __HAL_RCC_DMA1_CLK_ENABLE();

  /* DMA interrupt init */
  /* DMA1_Stream0_IRQn interrupt configuration */
  HAL_NVIC_SetPriority(DMA1_Stream0_IRQn, 5, 0);
  HAL_NVIC_EnableIRQ(DMA1_Stream0_IRQn);
  /* DMA1_Stream1_IRQn interrupt configuration */
  HAL_NVIC_SetPriority(DMA1_Stream1_IRQn, 5, 0);
  HAL_NVIC_EnableIRQ(DMA1_Stream1_IRQn);
  /* DMA1_Stream2_IRQn interrupt configuration */
  HAL_NVIC_SetPriority(DMA1_Stream2_IRQn, 5, 0);
  HAL_NVIC_EnableIRQ(DMA1_Stream2_IRQn);

}

static void MX_GPIO_Init(void)
{
  GPIO_InitTypeDef GPIO_InitStruct = {0};

  /* GPIO Ports Clock Enable */
  __HAL_RCC_GPIOE_CLK_ENABLE();
  __HAL_RCC_GPIOH_CLK_ENABLE();
  __HAL_RCC_GPIOA_CLK_ENABLE();
  __HAL_RCC_GPIOC_CLK_ENABLE();
  __HAL_RCC_GPIOB_CLK_ENABLE();
  __HAL_RCC_GPIOD_CLK_ENABLE();

  /*Configure GPIO pin Output Level */
  HAL_GPIO_WritePin(GPIOE, C_LED_DEBUG1_Pin|C_LED_DEBUG3_Pin, GPIO_PIN_SET);

  /*Configure GPIO pin Output Level */
  HAL_GPIO_WritePin(C_LED_DEBUG2_GPIO_Port, C_LED_DEBUG2_Pin, GPIO_PIN_RESET);

  /*Configure GPIO pin Output Level */
  HAL_GPIO_WritePin(GPIOD, C_LED_BLUE_Pin|C_LED_GREEN_Pin|C_LED_RED_Pin, GPIO_PIN_RESET);

  /*Configure GPIO pin Output Level */
  HAL_GPIO_WritePin(C_RTDS_GPIO_Port, C_RTDS_Pin, GPIO_PIN_RESET);

  /*Configure GPIO pins : C_LED_DEBUG1_Pin C_LED_DEBUG2_Pin C_LED_DEBUG3_Pin */
  GPIO_InitStruct.Pin = C_LED_DEBUG1_Pin|C_LED_DEBUG2_Pin|C_LED_DEBUG3_Pin;
  GPIO_InitStruct.Mode = GPIO_MODE_OUTPUT_PP;
  GPIO_InitStruct.Pull = GPIO_NOPULL;
  GPIO_InitStruct.Speed = GPIO_SPEED_FREQ_LOW;
  HAL_GPIO_Init(GPIOE, &GPIO_InitStruct);

  /*Configure GPIO pins : S_VEL1_Pin S_VEL2_Pin S_VEL3_Pin S_VEL4_Pin */
  GPIO_InitStruct.Pin = S_VEL1_Pin|S_VEL2_Pin|S_VEL3_Pin|S_VEL4_Pin;
  GPIO_InitStruct.Mode = GPIO_MODE_IT_RISING;
  GPIO_InitStruct.Pull = GPIO_NOPULL;
  HAL_GPIO_Init(GPIOE, &GPIO_InitStruct);

  /*Configure GPIO pins : C_LED_BLUE_Pin C_LED_GREEN_Pin C_LED_RED_Pin */
  GPIO_InitStruct.Pin = C_LED_BLUE_Pin|C_LED_GREEN_Pin|C_LED_RED_Pin;
  GPIO_InitStruct.Mode = GPIO_MODE_OUTPUT_PP;
  GPIO_InitStruct.Pull = GPIO_NOPULL;
  GPIO_InitStruct.Speed = GPIO_SPEED_FREQ_LOW;
  HAL_GPIO_Init(GPIOD, &GPIO_InitStruct);

  /*Configure GPIO pins : B_MODE_Pin B_DYNAMICS_CONTROLS_Pin B_RTD_Pin */
  GPIO_InitStruct.Pin = B_MODE_Pin|B_DYNAMICS_CONTROLS_Pin|B_RTD_Pin;
  GPIO_InitStruct.Mode = GPIO_MODE_INPUT;
  GPIO_InitStruct.Pull = GPIO_NOPULL;
  HAL_GPIO_Init(GPIOD, &GPIO_InitStruct);

  /*Configure GPIO pin : C_RTDS_Pin */
  GPIO_InitStruct.Pin = C_RTDS_Pin;
  GPIO_InitStruct.Mode = GPIO_MODE_OUTPUT_PP;
  GPIO_InitStruct.Pull = GPIO_NOPULL;
  GPIO_InitStruct.Speed = GPIO_SPEED_FREQ_LOW;
  HAL_GPIO_Init(C_RTDS_GPIO_Port, &GPIO_InitStruct);

  /*Configure GPIO pin : BOOT1_Pin */
  GPIO_InitStruct.Pin = BOOT1_Pin;
  GPIO_InitStruct.Mode = GPIO_MODE_INPUT;
  GPIO_InitStruct.Pull = GPIO_NOPULL;
  HAL_GPIO_Init(BOOT1_GPIO_Port, &GPIO_InitStruct);

  /* EXTI interrupt init*/
  HAL_NVIC_SetPriority(EXTI15_10_IRQn, 5, 0);
  HAL_NVIC_EnableIRQ(EXTI15_10_IRQn);

}

/* USER CODE BEGIN 4 */
//Sobreescrevendo a função para utilizar o DMA com 18 posições
//e agr a grande vantagem é que eu estou recebendo dados por meio de uma interrupção
//não parando meu código
void HAL_UARTEx_RxEventCallback(UART_HandleTypeDef *huart, uint16_t Size) {
      if (huart->Instance == USART1) {
          if (Size == sizeof(PacoteHIL_t)+2 && rx_buffer[0] == 'S' && rx_buffer[sizeof(PacoteHIL_t)+1] == '\n') {
              memcpy(&dados_planta, &rx_buffer[1], sizeof(PacoteHIL_t));
          }
          // Rearma o DMA para o próximo pacote do Simulink
          HAL_UARTEx_ReceiveToIdle_DMA(&huart1, rx_buffer, sizeof(rx_buffer));
      }
}
/* USER CODE END 4 */

__weak void main_task(void *argument)
{
  /* USER CODE BEGIN 5 */
  UNUSED(argument);
  /* Infinite loop */
  for(;;)
  {
    osDelay(1);
  }
  /* USER CODE END 5 */
}

void StartTask23(void *argument)
{
  /* USER CODE BEGIN StartTask23 */
  /* Infinite loop */

  //uint8_t rx;

  for(;;)
  {
	 /* uint8_t txt[] = "Hello World\r\n";
	  HAL_UART_Transmit(&huart1, txt, strlen(txt), 100);
	  HAL_Delay(1000);

	  // if(HAL_UART_Receive(&huart1, &rx, 1, HAL_MAX_DELAY) == HAL_OK){
		//   sprintf((char*)msg, "Byte recebido: %c\r\n", rx);
		//   HAL_UART_Transmit(&huart1, msg, strlen(msg), HAL_MAX_DELAY);
	  // }
  }
  /* USER CODE END StartTask23 */
}

void HAL_TIM_PeriodElapsedCallback(TIM_HandleTypeDef *htim)
{
  if (htim->Instance == TIM3) {
    HAL_IncTick();
  }
}

void Error_Handler(void)
{
}

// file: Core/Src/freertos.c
/* USER CODE BEGIN Header */
/**
  ******************************************************************************
  * File Name          : freertos.c
  * Description        : Code for freertos applications
  ******************************************************************************
  * @attention
  *
  * <h2><center>&copy; Copyright (c) 2020 STMicroelectronics.
  * All rights reserved.</center></h2>
  *
  * This software component is licensed by ST under Ultimate Liberty license
  * SLA0044, the "License"; You may not use this file except in compliance with
  * the License. You may obtain a copy of the License at:
  *                             www.st.com/SLA0044
  *
  ******************************************************************************
  */
/* USER CODE END Header */

#include "FreeRTOS.h"
#include "task.h"
#include "main.h"

/* Hook prototypes */
void vApplicationStackOverflowHook(xTaskHandle xTask, signed char *pcTaskName);
void vApplicationMallocFailedHook(void);

/* USER CODE BEGIN 4 */
void vApplicationStackOverflowHook(xTaskHandle xTask, signed char *pcTaskName)
{
   /* Run time stack overflow checking is performed if
   configCHECK_FOR_STACK_OVERFLOW is defined to 1 or 2. This hook function is
   called if a stack overflow is detected. */
	__disable_irq();
	for(;;) {
		;
	}
}
/* USER CODE END 4 */

/* USER CODE BEGIN 5 */
void vApplicationMallocFailedHook(void)
{
   /* vApplicationMallocFailedHook() will only be called if
   configUSE_MALLOC_FAILED_HOOK is set to 1 in FreeRTOSConfig.h. It is a hook
   function that will get called if a call to pvPortMalloc() fails.
   pvPortMalloc() is called internally by the kernel whenever a task, queue,
   timer or semaphore is created. It is also called by various parts of the
   demo application. If heap_1.c or heap_2.c are used, then the size of the
   heap available to pvPortMalloc() is defined by configTOTAL_HEAP_SIZE in
   FreeRTOSConfig.h, and the xPortGetFreeHeapSize() API function can be used
   to query the size of free heap space that remains (although it does not
   provide information on how the remaining heap might be fragmented). */
	while(1) {
		{} //trap
	}
}
/* USER CODE END 5 */
